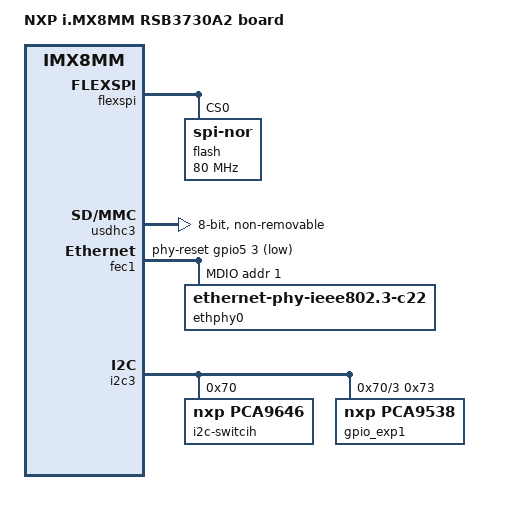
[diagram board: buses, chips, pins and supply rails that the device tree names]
// SPDX-License-Identifier: (GPL-2.0+ OR MIT)
/*
 * Copyright 2019-2020 NXP
 */

/dts-v1/;

#include <dt-bindings/usb/pd.h>
#include "imx8mm-advantech.dtsi"

/ {
	model = "NXP i.MX8MM RSB3730A2 board";
	compatible = "fsl,imx8mm-evk", "fsl,imx8mm";

	chosen {
		bootargs = "console=ttymxc1,115200 earlycon=ec_imx6q,0x30890000,115200";
	};

	aliases {
		spi0 = &flexspi;
	};

/delete-node/  rm67199_panel;
};

&flexspi {
	pinctrl-names = "default";
	pinctrl-0 = <&pinctrl_flexspi>;
	status = "okay";

	flash@0 {
		reg = <0>;
		#address-cells = <1>;
		#size-cells = <1>;
		compatible = "jedec,spi-nor";
		spi-max-frequency = <80000000>;
		spi-tx-bus-width = <1>;
		spi-rx-bus-width = <4>;
	};
};

&usdhc3 {
	assigned-clocks = <&clk IMX8MM_CLK_USDHC3_ROOT>;
	assigned-clock-rates = <400000000>;
	pinctrl-names = "default", "state_100mhz", "state_200mhz";
	pinctrl-0 = <&pinctrl_usdhc3>;
	pinctrl-1 = <&pinctrl_usdhc3_100mhz>;
	pinctrl-2 = <&pinctrl_usdhc3_200mhz>;
	bus-width = <8>;
	non-removable;
	status = "okay";
};

/delete-node/  &wm8524;

&reg_usdhc2_vmmc {
	/delete-property/ enable-active-high;
	startup-delay-us = <35000>;
};

&dsi_host {
	status = "disabled";
};

&fec1 {
    phy-reset-gpios = <&gpio5 3 GPIO_ACTIVE_LOW>;
    phy-reset-post-delay = <75>;
    phy-reset-duration = <10>;

	mdio {
		/delete-node/ ethernet-phy@0;
        ethphy0: ethernet-phy@1 {
            compatible = "ethernet-phy-ieee802.3-c22";
            reg = <1>;
            eee-broken-1000t;
        };
	};
};

&i2c2 {
	/delete-node/  adv7535@3d ;
	/delete-node/  tcpc@50;
};

&i2c3 {
	/delete-node/ gpio@20;
	i2c-switcih@70 {
		#address-cells = <1>;
		#size-cells = <0>;
		compatible = "nxp,pca9646";
		reg = <0x70>;

		i2c@3 {
			reg = <3>;
			#address-cells = <1>;
			#size-cells = <0>;

			gpio_exp1: pca9538@73 {
				compatible = "nxp,pca9538";
				reg = <0x73>;
				#gpio-cells = <2>;
				gpio-controller;
			};
		};
	};
};

&mipi_dsi {
	status = "disabled";

	/delete-node/ port@1;
	/delete-node/ port@2;
};

&usbotg1 {
	/delete-property/ dr_mode;
	/delete-property/ hnp-disable;
	/delete-property/ srp-disable;
	/delete-property/ adp-disable;
	/delete-property/ usb-role-switch;
	/delete-property/ disable-over-current;
	/delete-property/ samsung,picophy-pre-emp-curr-control;
	/delete-property/ samsung,picophy-dc-vol-level-adjust;
	/delete-node/ port;
};

&lcdif {
	status = "disabled";
};

&iomuxc {
	pinctrl_flexspi: flexspigrp {
		fsl,pins = <
			MX8MM_IOMUXC_NAND_ALE_QSPI_A_SCLK               0x1c2
			MX8MM_IOMUXC_NAND_CE0_B_QSPI_A_SS0_B            0x82
			MX8MM_IOMUXC_NAND_DATA00_QSPI_A_DATA0           0x82
			MX8MM_IOMUXC_NAND_DATA01_QSPI_A_DATA1           0x82
			MX8MM_IOMUXC_NAND_DATA02_QSPI_A_DATA2           0x82
			MX8MM_IOMUXC_NAND_DATA03_QSPI_A_DATA3           0x82
		>;
	};

	/delete-node/ pinctrl_fec1;
	pinctrl_fec1: fec1grp {
		fsl,pins = <
			MX8MM_IOMUXC_ENET_MDC_ENET1_MDC			0x3
			MX8MM_IOMUXC_ENET_MDIO_ENET1_MDIO		0x3
			MX8MM_IOMUXC_ENET_TD3_ENET1_RGMII_TD3		0x1f
			MX8MM_IOMUXC_ENET_TD2_ENET1_RGMII_TD2		0x1f
			MX8MM_IOMUXC_ENET_TD1_ENET1_RGMII_TD1		0x1f
			MX8MM_IOMUXC_ENET_TD0_ENET1_RGMII_TD0		0x1f
			MX8MM_IOMUXC_ENET_RD3_ENET1_RGMII_RD3		0x91
			MX8MM_IOMUXC_ENET_RD2_ENET1_RGMII_RD2		0x91
			MX8MM_IOMUXC_ENET_RD1_ENET1_RGMII_RD1		0x91
			MX8MM_IOMUXC_ENET_RD0_ENET1_RGMII_RD0		0x91
			MX8MM_IOMUXC_ENET_TXC_ENET1_RGMII_TXC		0x1f
			MX8MM_IOMUXC_ENET_RXC_ENET1_RGMII_RXC		0x91
			MX8MM_IOMUXC_ENET_RX_CTL_ENET1_RGMII_RX_CTL	0x91
			MX8MM_IOMUXC_ENET_TX_CTL_ENET1_RGMII_TX_CTL	0x1f
			MX8MM_IOMUXC_SPDIF_TX_GPIO5_IO3				0x159
		>;
	};

	pinctrl_usdhc3: usdhc3grp {
		fsl,pins = <
			MX8MM_IOMUXC_NAND_WE_B_USDHC3_CLK               0x190
			MX8MM_IOMUXC_NAND_WP_B_USDHC3_CMD               0x1d0
			MX8MM_IOMUXC_NAND_DATA04_USDHC3_DATA0           0x1d0
			MX8MM_IOMUXC_NAND_DATA05_USDHC3_DATA1           0x1d0
			MX8MM_IOMUXC_NAND_DATA06_USDHC3_DATA2           0x1d0
			MX8MM_IOMUXC_NAND_DATA06_USDHC3_DATA2           0x1d0
			MX8MM_IOMUXC_NAND_DATA07_USDHC3_DATA3           0x1d0
			MX8MM_IOMUXC_NAND_RE_B_USDHC3_DATA4             0x1d0
			MX8MM_IOMUXC_NAND_CE2_B_USDHC3_DATA5            0x1d0
			MX8MM_IOMUXC_NAND_CE3_B_USDHC3_DATA6            0x1d0
			MX8MM_IOMUXC_NAND_CLE_USDHC3_DATA7              0x1d0
			MX8MM_IOMUXC_NAND_CE1_B_USDHC3_STROBE           0x190
		>;
	};

	pinctrl_usdhc3_100mhz: usdhc3-100mhzgrp {
		fsl,pins = <
			MX8MM_IOMUXC_NAND_WE_B_USDHC3_CLK               0x194
			MX8MM_IOMUXC_NAND_WP_B_USDHC3_CMD               0x1d4
			MX8MM_IOMUXC_NAND_DATA04_USDHC3_DATA0           0x1d4
			MX8MM_IOMUXC_NAND_DATA05_USDHC3_DATA1           0x1d4
			MX8MM_IOMUXC_NAND_DATA06_USDHC3_DATA2           0x1d4
			MX8MM_IOMUXC_NAND_DATA07_USDHC3_DATA3           0x1d4
			MX8MM_IOMUXC_NAND_RE_B_USDHC3_DATA4             0x1d4
			MX8MM_IOMUXC_NAND_CE2_B_USDHC3_DATA5            0x1d4
			MX8MM_IOMUXC_NAND_CE3_B_USDHC3_DATA6            0x1d4
			MX8MM_IOMUXC_NAND_CLE_USDHC3_DATA7              0x1d4
			MX8MM_IOMUXC_NAND_CE1_B_USDHC3_STROBE           0x194
		>;
	};

	pinctrl_usdhc3_200mhz: usdhc3-200mhzgrp {
		fsl,pins = <
			MX8MM_IOMUXC_NAND_WE_B_USDHC3_CLK               0x196
			MX8MM_IOMUXC_NAND_WP_B_USDHC3_CMD               0x1d6
			MX8MM_IOMUXC_NAND_DATA04_USDHC3_DATA0           0x1d6
			MX8MM_IOMUXC_NAND_DATA05_USDHC3_DATA1           0x1d6
			MX8MM_IOMUXC_NAND_DATA06_USDHC3_DATA2           0x1d6
			MX8MM_IOMUXC_NAND_DATA07_USDHC3_DATA3           0x1d6
			MX8MM_IOMUXC_NAND_RE_B_USDHC3_DATA4             0x1d6
			MX8MM_IOMUXC_NAND_CE2_B_USDHC3_DATA5            0x1d6
			MX8MM_IOMUXC_NAND_CE3_B_USDHC3_DATA6            0x1d6
			MX8MM_IOMUXC_NAND_CLE_USDHC3_DATA7              0x1d6
			MX8MM_IOMUXC_NAND_CE1_B_USDHC3_STROBE           0x196
		>;
	};
};
